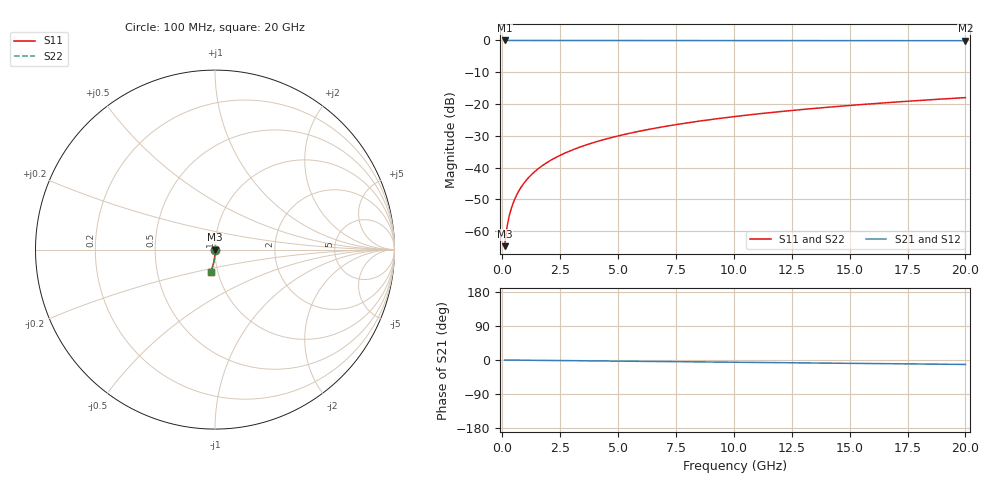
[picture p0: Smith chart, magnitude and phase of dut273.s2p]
! Touchstone file exported from HFSS 2026.1.0
!  File:  C:/ffzhzh/LocalFiles/Ansys_Project_Files/temp_train_TSV_273_1782993357_42984.aedt
!  Generated:  07:57:17 PM Jul  2, 2026
!  Design:  TSV
!  Project:  temp_train_TSV_273_1782993357_42984
! Variables:
!  h_bsmrdl = 2um
!  h_ox = 20um
!  h_rdl = 5um
!  h_sub = 99.92um
!  h_tmrdl = 5um
!  h_tsv = 99.92um
!  h_via = 3um
!  l_bsmrdl = 300um
!  l_sub = 427.04um
!  l_tmrdl = 200um
!  m_sub = 200um
!  pitch = 32.85um
!  r_tsv = 13.52um
!  s_tmrdl = 10um
!  w_bsmrdl = 18um
!  w_sub = 500um
!  w_tmrdl = 12um
!  x_tsv_center1 = 206um
!  x_tsv_center2 = 524um
!  x_tsv_center3 = 736um
!  x_tsv_center4 = 1054um
!  x_tsv_center5 = 1266um
!  x_tsv_center6 = 1584um
# GHz S MA R 50.000000
! Terminal data exported
! Port[1] = TSV1_1_T1
! Port[2] = TSV1_1_T2
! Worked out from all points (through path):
!   200 points, 100 MHz to 20 GHz, reference 50 ohm
!   highest |S21| = 0.00 dB at 100 MHz (marker M1); lowest = -0.1 dB at 20 GHz (marker M2)
!   group delay of S21, straight-line fit = 1.62 ps
!   lowest |S11| = -64.7 dB at 100 MHz (marker M3), VSWR 1.00, Z = 50 - j0.0569 ohm
!   |S11| at or under -10 dB: start of sweep to end of sweep
!   |S22| runs from -64.7 to -18.0 dB; largest |S21 - S12| = 3.6e-15
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0.1  0.0005799 -78.8  0.9999 -0.1  0.9999 -0.1  0.0005799 -78.8
! Gamma 0 0 0 0
! Port Impedance 50 0 50 0
0.2  0.001153 -83.2  0.9999 -0.1  0.9999 -0.1  0.001153 -83.2
0.3  0.001741 -84.5  0.9998 -0.2  0.9998 -0.2  0.001741 -84.5
0.4  0.002343 -85.0  0.9998 -0.2  0.9998 -0.2  0.002343 -85.0
0.5  0.002955 -85.4  0.9997 -0.3  0.9997 -0.3  0.002955 -85.4
0.7  0.004203 -86.1  0.9997 -0.4  0.9997 -0.4  0.004203 -86.1
0.8  0.004833 -86.3  0.9996 -0.5  0.9996 -0.5  0.004833 -86.3
1  0.006099 -86.9  0.9996 -0.6  0.9996 -0.6  0.006099 -86.9
1.2  0.007368 -87.4  0.9995 -0.7  0.9995 -0.7  0.007368 -87.4
1.4  0.008636 -87.8  0.9995 -0.8  0.9995 -0.8  0.008636 -87.8
1.7  0.01054 -88.3  0.9994 -1.0  0.9994 -1.0  0.01054 -88.3
2  0.01244 -88.7  0.9994 -1.2  0.9994 -1.2  0.01244 -88.7
2.7  0.01687 -89.6  0.9993 -1.6  0.9993 -1.6  0.01687 -89.6
3.5  0.02194 -90.3  0.9991 -2.1  0.9991 -2.1  0.02194 -90.3
4.2  0.02639 -90.9  0.9989 -2.5  0.9989 -2.5  0.02639 -90.9
5  0.03147 -91.5  0.9987 -3.0  0.9987 -3.0  0.03147 -91.5
6.8  0.04293 -92.7  0.9981 -4.0  0.9981 -4.0  0.04293 -92.7
8.3  0.05248 -93.7  0.9975 -4.9  0.9975 -4.9  0.05248 -93.7
10.1  0.06391 -94.9  0.9968 -5.9  0.9968 -5.9  0.06391 -94.9
13.4  0.08479 -96.9  0.995 -7.9  0.995 -7.9  0.08479 -96.9
16.7  0.1055 -98.9  0.9929 -9.8  0.9929 -9.8  0.1055 -98.9
20  0.1261 -100.9  0.9903 -11.7  0.9903 -11.7  0.1261 -100.9
